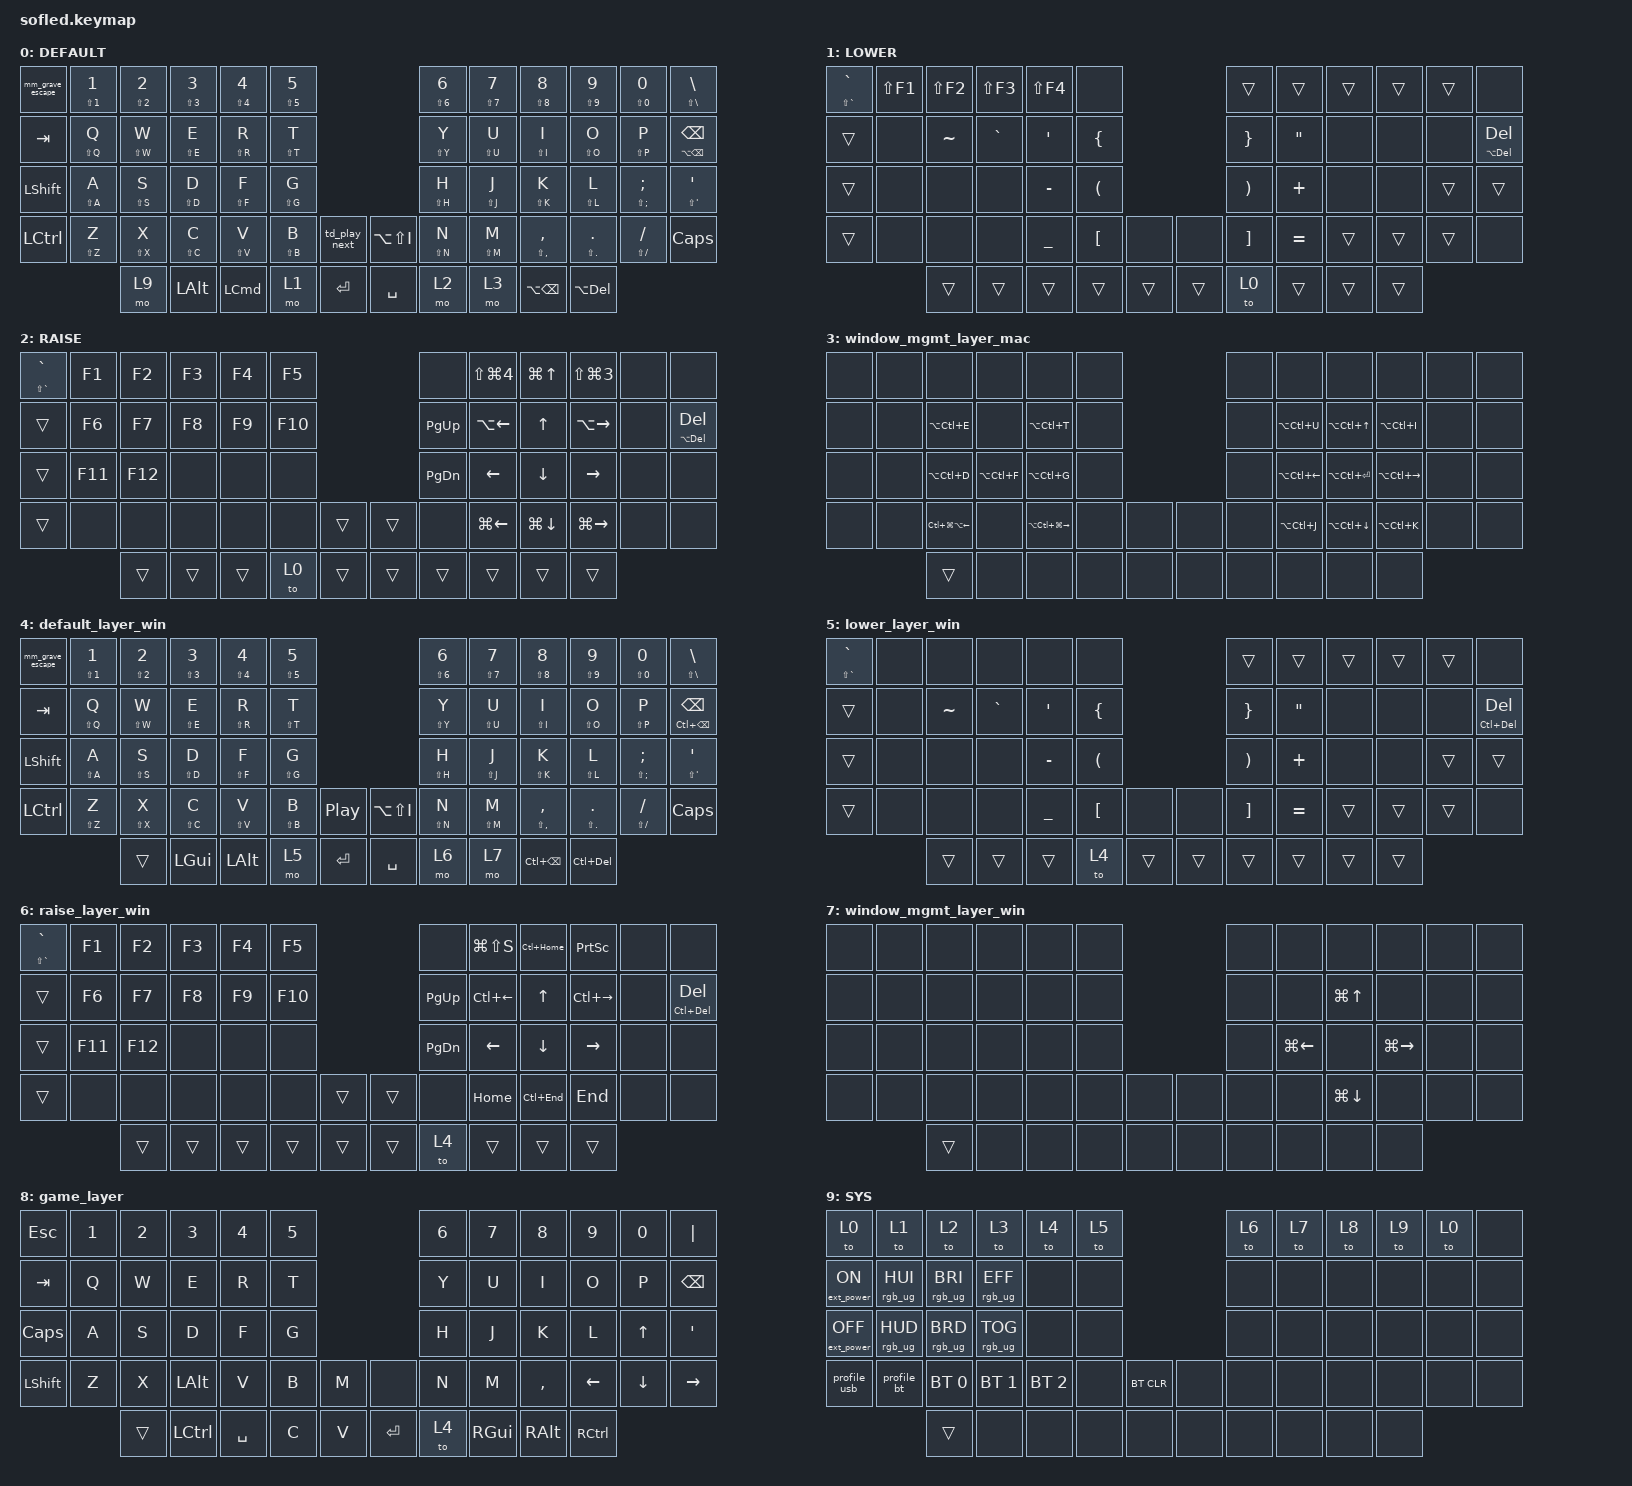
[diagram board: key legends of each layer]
/*
 * Copyright (c) 2020 The ZMK Contributors
 *
 * SPDX-License-Identifier: MIT
 */

#include <behaviors.dtsi>
#include <dt-bindings/zmk/bt.h>
#include <dt-bindings/zmk/ext_power.h>
#include <dt-bindings/zmk/keys.h>
#include <dt-bindings/zmk/outputs.h>
#include <dt-bindings/zmk/rgb.h>

/ {
    combos { compatible = "zmk,combos"; };

    behaviors {
        mm_grave_escape: mm_grave_escape {
            compatible = "zmk,behavior-mod-morph";
            label = "MM_GRAVE_ESCAPE";
            bindings = <&kp ESCAPE>, <&kp GRAVE>;

            #binding-cells = <0>;
            mods = <(MOD_LGUI)>;
            keep-mods = <(MOD_LGUI)>;
        };

        ht_mo_tog: ht_mo_tog {
            compatible = "zmk,behavior-hold-tap";
            label = "HT_MO_TOG";
            bindings = <&mo>, <&to>;

            #binding-cells = <2>;
            tapping-term-ms = <200>;
        };

        as: ht_auto_shift {
            compatible = "zmk,behavior-hold-tap";
            label = "HT_AUTO_SHIFT";
            #binding-cells = <2>;
            flavor = "tap-preferred";
            bindings = <&kp>, <&kp>;

            tapping-term-ms = <200>;
            /* A key pressed within 150ms of the previous key always resolves
             * as a tap. Stops a late release (BLE jitter) from turning a
             * mid-word letter into a capital. */
            require-prior-idle-ms = <150>;
        };

        td_shift_caps: td_shift_caps {
            compatible = "zmk,behavior-tap-dance";
            label = "TD_SHIFT_CAPS";
            #binding-cells = <0>;
            bindings = <&kp LEFT_SHIFT>, <&kp CAPSLOCK>;
        };

        td_lower_mac: td_lower_mac {
            compatible = "zmk,behavior-tap-dance";
            label = "TD_LOWER_MAC";
            #binding-cells = <0>;
            bindings = <&mo 1>, <&to 1>;
        };

        td_raise_mac: td_raise_mac {
            compatible = "zmk,behavior-tap-dance";
            label = "TD_RAISE_MAC";
            #binding-cells = <0>;
            bindings = <&mo 2>, <&to 2>;
        };

        as_slow: as_slow {
            compatible = "zmk,behavior-hold-tap";
            label = "AS_SLOW";
            bindings = <&kp>, <&kp>;

            #binding-cells = <2>;
            tapping-term-ms = <300>;
            flavor = "tap-preferred";
            require-prior-idle-ms = <150>;
        };

        td_raise_win: td_raise_win {
            compatible = "zmk,behavior-tap-dance";
            label = "TD_RAISE_WIN";
            #binding-cells = <0>;
            bindings = <&mo 6>, <&to 6>;
        };

        td_lower_win: td_lower_win {
            compatible = "zmk,behavior-tap-dance";
            label = "TD_LOWER_WIN";
            #binding-cells = <0>;
            bindings = <&mo 5>, <&to 5>;
        };

        td_play_next: td_play_next {
            compatible = "zmk,behavior-tap-dance";
            label = "TD_PLAY_NEXT";
            #binding-cells = <0>;
            bindings = <&kp C_PLAY_PAUSE>, <&kp C_NEXT>;
        };
    };

    macros {
        profile_bt: profile_bt {
            compatible = "zmk,behavior-macro";
            #binding-cells = <0>;
            bindings = <&out OUT_BLE &bt BT_SEL 0 &to 4>;
            label = "PROFILE_BT";
        };

        profile_usb: profile_usb {
            compatible = "zmk,behavior-macro";
            #binding-cells = <0>;
            bindings = <&out OUT_USB &to 0>;
            label = "PROFILE_USB";
        };
    };

    keymap {
        compatible = "zmk,keymap";

        DEFAULT {
            bindings = <
&mm_grave_escape  &as LS(N1) NUMBER_1  &as LS(N2) NUMBER_2  &as LS(N3) NUMBER_3  &as LS(N4) NUMBER_4  &as LS(N5) NUMBER_5                                &as LS(N6) NUMBER_6  &as LS(N7) NUMBER_7  &as LS(N8) NUMBER_8  &as LS(N9) NUMBER_9  &as LS(N0) NUMBER_0     &as LS(BACKSLASH) BACKSLASH
&kp TAB           &as_slow LS(Q) Q     &as LS(W) W          &as LS(E) E          &as LS(R) R          &as LS(T) T                                        &as LS(Y) Y          &as LS(U) U          &as LS(I) I          &as LS(O) O          &as_slow LS(P) P        &as LA(BSPC) BACKSPACE
&kp LEFT_SHIFT    &as_slow LS(A) A     &as LS(S) S          &as LS(D) D          &as LS(F) F          &as LS(G) G                                        &as LS(H) H          &as LS(J) J          &as LS(K) K          &as LS(L) L          &as LS(SEMI) SEMICOLON  &as LS(SQT) SINGLE_QUOTE
&kp LEFT_CONTROL  &as_slow LS(Z) Z     &as LS(X) X          &as LS(C) C          &as LS(V) V          &as LS(B) B          &td_play_next  &kp LA(LS(I))  &as LS(N) N          &as LS(M) M          &as LS(COMMA) COMMA  &as LS(DOT) PERIOD   &as LS(FSLH) SLASH      &kp CLCK
                                       &mo 9                &kp LALT             &kp LEFT_COMMAND     &mo 1                &kp ENTER      &kp SPACE      &mo 2                &mo 3                &kp LA(BACKSPACE)    &kp LA(DELETE)
            >;
        };

        LOWER {
            bindings = <
&as LS(GRAVE) GRAVE  &kp LS(F1)  &kp LS(F2)  &kp LS(F3)  &kp LS(F4)      &none                                 &trans                 &trans             &trans  &trans  &trans  &none
&trans               &none       &kp TILDE   &kp GRAVE   &kp SQT         &kp LEFT_BRACE                        &kp RIGHT_BRACE        &kp DOUBLE_QUOTES  &none   &none   &none   &as LA(DELETE) DELETE
&trans               &none       &none       &none       &kp MINUS       &kp LEFT_PARENTHESIS                  &kp RIGHT_PARENTHESIS  &kp PLUS           &none   &none   &trans  &trans
&trans               &none       &none       &none       &kp UNDERSCORE  &kp LEFT_BRACKET      &none   &none   &kp RIGHT_BRACKET      &kp EQUAL          &trans  &trans  &trans  &none
                                 &trans      &trans      &trans          &trans                &trans  &trans  &to 0                  &trans             &trans  &trans
            >;
        };

        RAISE {
            bindings = <
&as LS(GRAVE) GRAVE  &kp F1   &kp F2   &kp F3  &kp F4  &kp F5                   &none          &kp LS(LG(NUMBER_4))  &kp LG(UP_ARROW)  &kp LS(LG(NUMBER_3))  &none  &none
&trans               &kp F6   &kp F7   &kp F8  &kp F9  &kp F10                  &kp PAGE_UP    &kp LA(LEFT)          &kp UP            &kp LA(RIGHT)         &none  &as LA(DELETE) DELETE
&trans               &kp F11  &kp F12  &none   &none   &none                    &kp PAGE_DOWN  &kp LEFT              &kp DOWN          &kp RIGHT             &none  &none
&trans               &none    &none    &none   &none   &none    &trans  &trans  &none          &kp LG(LEFT)          &kp LG(DOWN)      &kp LG(RIGHT)         &none  &none
                              &trans   &trans  &trans  &to 0    &trans  &trans  &trans         &trans                &trans            &trans
            >;
        };

        window_mgmt_layer_mac {
            bindings = <
&none  &none  &none                 &none          &none                  &none                &none  &none                   &none                 &none              &none  &none
&none  &none  &kp LA(LC(E))         &none          &kp LA(LC(T))          &none                &none  &kp LA(LC(U))           &kp LA(LC(UP_ARROW))  &kp LA(LC(I))      &none  &none
&none  &none  &kp LA(LC(D))         &kp LA(LC(F))  &kp LA(LC(G))          &none                &none  &kp LA(LC(LEFT_ARROW))  &kp LA(LC(ENTER))     &kp LA(LC(RIGHT))  &none  &none
&none  &none  &kp LC(LG(LA(LEFT)))  &none          &kp LA(LC(LG(RIGHT)))  &none  &none  &none  &none  &kp LA(LC(J))           &kp LA(LC(DOWN))      &kp LA(LC(K))      &none  &none
              &trans                &none          &none                  &none  &none  &none  &none  &none                   &none                 &none
            >;
        };

        default_layer_win {
            bindings = <
&mm_grave_escape  &as LS(N1) NUMBER_1  &as LS(N2) NUMBER_2  &as LS(N3) NUMBER_3  &as LS(N4) NUMBER_4  &as LS(N5) NUMBER_5                                   &as LS(N6) NUMBER_6  &as LS(N7) NUMBER_7  &as LS(N8) NUMBER_8  &as LS(N9) NUMBER_9  &as LS(N0) NUMBER_0          &as LS(BACKSLASH) BACKSLASH
&kp TAB           &as_slow LS(Q) Q     &as LS(W) W          &as LS(E) E          &as LS(R) R          &as LS(T) T                                           &as LS(Y) Y          &as LS(U) U          &as LS(I) I          &as LS(O) O          &as_slow LS(P) P             &as LC(BSPC) BACKSPACE
&kp LEFT_SHIFT    &as_slow LS(A) A     &as LS(S) S          &as LS(D) D          &as LS(F) F          &as LS(G) G                                           &as LS(H) H          &as LS(J) J          &as LS(K) K          &as LS(L) L          &as_slow LS(SEMI) SEMICOLON  &as_slow LS(SQT) SINGLE_QUOTE
&kp LEFT_CONTROL  &as_slow LS(Z) Z     &as LS(X) X          &as LS(C) C          &as LS(V) V          &as LS(B) B          &kp C_PLAY_PAUSE  &kp LA(LS(I))  &as LS(N) N          &as LS(M) M          &as LS(COMMA) COMMA  &as LS(DOT) PERIOD   &as_slow LS(FSLH) SLASH      &kp CLCK
                                       &trans               &kp LEFT_GUI         &kp LEFT_ALT         &mo 5                &kp ENTER         &kp SPACE      &mo 6                &mo 7                &kp LC(BACKSPACE)    &kp LC(DELETE)
            >;
        };

        lower_layer_win {
            bindings = <
&as LS(GRAVE) GRAVE  &none  &none      &none      &none           &none                                 &trans                 &trans             &trans  &trans  &trans  &none
&trans               &none  &kp TILDE  &kp GRAVE  &kp SQT         &kp LEFT_BRACE                        &kp RIGHT_BRACE        &kp DOUBLE_QUOTES  &none   &none   &none   &as LC(DELETE) DELETE
&trans               &none  &none      &none      &kp MINUS       &kp LEFT_PARENTHESIS                  &kp RIGHT_PARENTHESIS  &kp PLUS           &none   &none   &trans  &trans
&trans               &none  &none      &none      &kp UNDERSCORE  &kp LEFT_BRACKET      &none   &none   &kp RIGHT_BRACKET      &kp EQUAL          &trans  &trans  &trans  &none
                            &trans     &trans     &trans          &to 4                 &trans  &trans  &trans                 &trans             &trans  &trans
            >;
        };

        raise_layer_win {
            bindings = <
&as LS(GRAVE) GRAVE  &kp F1   &kp F2   &kp F3  &kp F4  &kp F5                   &none          &kp LG(LS(S))  &kp LC(HOME)  &kp PRINTSCREEN  &none  &none
&trans               &kp F6   &kp F7   &kp F8  &kp F9  &kp F10                  &kp PAGE_UP    &kp LC(LEFT)   &kp UP        &kp LC(RIGHT)    &none  &as LC(DELETE) DELETE
&trans               &kp F11  &kp F12  &none   &none   &none                    &kp PAGE_DOWN  &kp LEFT       &kp DOWN      &kp RIGHT        &none  &none
&trans               &none    &none    &none   &none   &none    &trans  &trans  &none          &kp HOME       &kp LC(END)   &kp END          &none  &none
                              &trans   &trans  &trans  &trans   &trans  &trans  &to 4          &trans         &trans        &trans
            >;
        };

        window_mgmt_layer_win {
            bindings = <
&none  &none  &none   &none  &none  &none                &none  &none               &none             &none          &none  &none
&none  &none  &none   &none  &none  &none                &none  &none               &kp LG(UP_ARROW)  &none          &none  &none
&none  &none  &none   &none  &none  &none                &none  &kp LG(LEFT_ARROW)  &none             &kp LG(RIGHT)  &none  &none
&none  &none  &none   &none  &none  &none  &none  &none  &none  &none               &kp LG(DOWN)      &none          &none  &none
              &trans  &none  &none  &none  &none  &none  &none  &none               &none             &none
            >;
        };

        game_layer {
            bindings = <
&kp ESC    &kp N1  &kp N2  &kp N3        &kp N4     &kp N5                    &kp N6  &kp N7         &kp N8     &kp N9             &kp N0          &kp PIPE
&kp TAB    &kp Q   &kp W   &kp E         &kp R      &kp T                     &kp Y   &kp U          &kp I      &kp O              &kp P           &kp BSPC
&kp CLCK   &kp A   &kp S   &kp D         &kp F      &kp G                     &kp H   &kp J          &kp K      &kp L              &kp UP_ARROW    &kp SQT
&kp LSHFT  &kp Z   &kp X   &kp LEFT_ALT  &kp V      &kp B   &kp M  &none      &kp N   &kp M          &kp COMMA  &kp LEFT           &kp DOWN_ARROW  &kp RIGHT
                   &trans  &kp LCTRL     &kp SPACE  &kp C   &kp V  &kp ENTER  &to 4   &kp RIGHT_GUI  &kp RALT   &kp RIGHT_CONTROL
            >;
        };

        SYS {
            bindings = <
&to 0              &to 1            &to 2            &to 3            &to 4         &to 5                     &to 6  &to 7  &to 8  &to 9  &to 0  &none
&ext_power EP_ON   &rgb_ug RGB_HUI  &rgb_ug RGB_BRI  &rgb_ug RGB_EFF  &none         &none                     &none  &none  &none  &none  &none  &none
&ext_power EP_OFF  &rgb_ug RGB_HUD  &rgb_ug RGB_BRD  &rgb_ug RGB_TOG  &none         &none                     &none  &none  &none  &none  &none  &none
&profile_usb       &profile_bt      &bt BT_SEL 0     &bt BT_SEL 1     &bt BT_SEL 2  &none  &bt BT_CLR  &none  &none  &none  &none  &none  &none  &none
                                    &trans           &none            &none         &none  &none       &none  &none  &none  &none  &none
            >;
        };
    };
};
